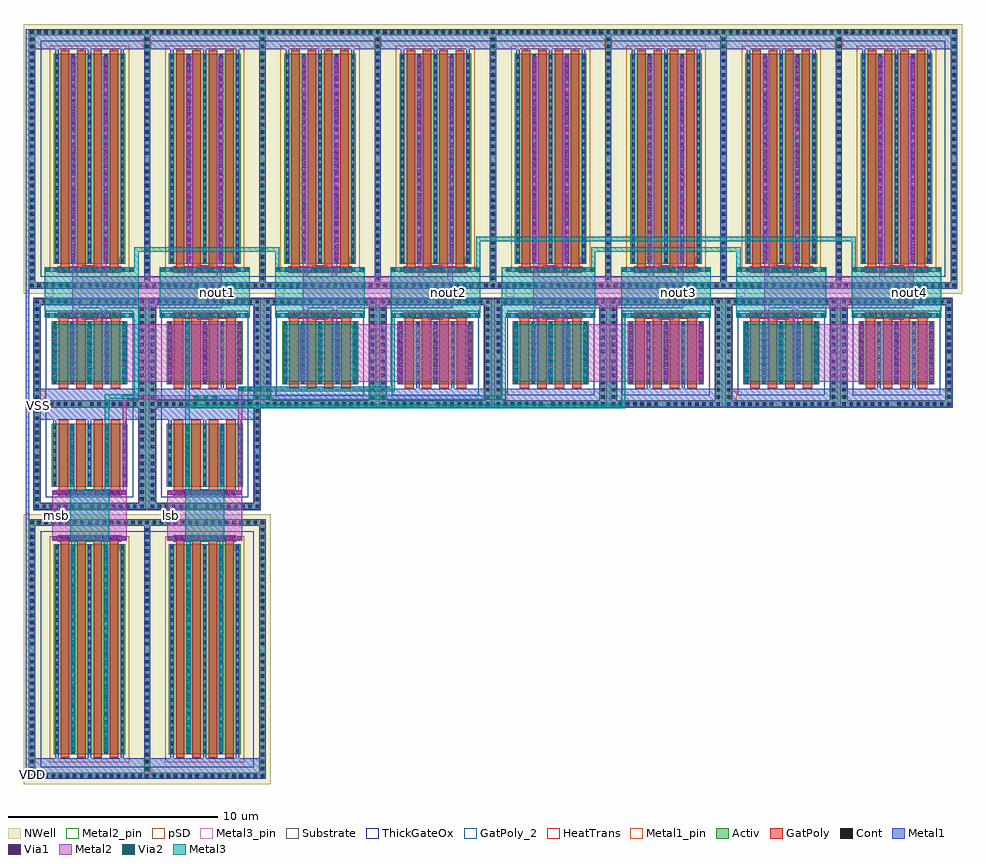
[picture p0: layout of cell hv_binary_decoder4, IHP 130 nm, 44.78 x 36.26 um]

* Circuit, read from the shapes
.subckt hv_binary_decoder4 VDD VSS lsb msb nout1 nout2 nout3 nout4
XM1 hv_nand_2/in1 msb VSS VSS sg13_hv_nmos w=3u l=0.45u m=4
XM2 nout1 hv_nand_2/in1 n1 VSS sg13_hv_nmos w=3u l=0.45u m=4
XM3 hv_nand_3/in2 lsb VSS VSS sg13_hv_nmos w=3u l=0.45u m=4
XM4 VSS hv_nand_3/in2 n1 VSS sg13_hv_nmos w=3u l=0.45u m=4
XM5 nout2 hv_nand_2/in1 n2 VSS sg13_hv_nmos w=3u l=0.45u m=4
XM6 VSS lsb n2 VSS sg13_hv_nmos w=3u l=0.45u m=4
XM7 nout3 msb n3 VSS sg13_hv_nmos w=3u l=0.45u m=4
XM8 VSS hv_nand_3/in2 n3 VSS sg13_hv_nmos w=3u l=0.45u m=4
XM9 nout4 msb n4 VSS sg13_hv_nmos w=3u l=0.45u m=4
XM10 VSS lsb n4 VSS sg13_hv_nmos w=3u l=0.45u m=4
XM11 hv_nand_2/in1 msb VDD VDD sg13_hv_pmos w=10u l=0.4u m=4
XM12 nout1 hv_nand_2/in1 VDD VDD sg13_hv_pmos w=10u l=0.4u m=4
XM13 hv_nand_3/in2 lsb VDD VDD sg13_hv_pmos w=10u l=0.4u m=4
XM14 nout1 hv_nand_3/in2 VDD VDD sg13_hv_pmos w=10u l=0.4u m=4
XM15 nout2 hv_nand_2/in1 VDD VDD sg13_hv_pmos w=10u l=0.4u m=4
XM16 nout2 lsb VDD VDD sg13_hv_pmos w=10u l=0.4u m=4
XM17 nout3 msb VDD VDD sg13_hv_pmos w=10u l=0.4u m=4
XM18 nout3 hv_nand_3/in2 VDD VDD sg13_hv_pmos w=10u l=0.4u m=4
XM19 nout4 msb VDD VDD sg13_hv_pmos w=10u l=0.4u m=4
XM20 nout4 lsb VDD VDD sg13_hv_pmos w=10u l=0.4u m=4
.ends

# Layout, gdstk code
from math import pi, radians
import gdstk
lib = gdstk.Library(unit=1e-6, precision=1e-09)
def R(c, l, rs):  # rectangles x0, y0, x1, y1
    for r in rs: c.add(gdstk.rectangle(r[:2], r[2:], *l))
def A(c, l, x, y, w, h, nx, ny, dx, dy):  # array of equal rectangles
    R(c, l, [(x+i*dx, y+j*dy, x+i*dx+w, y+j*dy+h) for i in range(nx) for j in range(ny)])
def P(c, l, *ps):  # polygons
    for p in ps: c.add(gdstk.Polygon(p, *l))
Activ = (1, 0)
GatPoly = (5, 0)
GatPoly_2 = (5, 2)
Cont = (6, 0)
Metal1 = (8, 0)
Metal1_pin = (8, 2)
Metal2 = (10, 0)
Metal2_pin = (10, 2)
pSD = (14, 0)
Via1 = (19, 0)
Via2 = (29, 0)
Metal3 = (30, 0)
Metal3_pin = (30, 2)
NWell = (31, 0)
Substrate = (40, 0)
ThickGateOx = (44, 0)
HeatTrans = (51, 0)

via_stack_2 = lib.new_cell('via_stack$2')
R(via_stack_2, Metal1, [(-0.105,-1.375,0.105,1.375)])
R(via_stack_2, Metal2, [(-0.1,-1.375,0.1,1.375)])
A(via_stack_2, Via1, -0.095, -1.325, 0.19, 0.19, 1, 7, 0, 0.41)
A(via_stack_2, Via2, -0.095, -1.325, 0.19, 0.19, 1, 7, 0, 0.41)
R(via_stack_2, Metal3, [(-0.1,-1.375,0.1,1.375)])

nmoshv = lib.new_cell('nmosHV')
A(nmoshv, Activ, 0, 0, 0.3, 0.3, 5, 1, 0.83, 0)
R(nmoshv, Activ, [(-0.84,-0.79,-0.54,3.79), (4.16,-0.79,4.46,3.79), (0,0,3.62,3), (-0.84,3.79,4.46,4.09)])
P(nmoshv, Activ, [(-0.84,-1.09),(-0.84,3.79),(-0.54,3.79),(-0.54,-0.79),(4.16,-0.79),(4.16,3.79),(-0.84,3.79),(-0.84,4.09),(4.46,4.09),(4.46,-1.09)])
A(nmoshv, GatPoly, 0.34, -0.18, 0.45, 3.36, 4, 1, 0.83, 0)
R(nmoshv, GatPoly_2, [(0.34,-0.18,0.79,3.18)])
A(nmoshv, Cont, -0.77, -1.02, 0.16, 0.16, 7, 2, 0.34, 4.88)
A(nmoshv, Cont, 1.85, -1.02, 0.16, 0.16, 8, 2, 0.34, 4.88)
A(nmoshv, Cont, -0.77, -0.68, 0.16, 0.16, 1, 6, 0, 0.34)
A(nmoshv, Cont, 4.23, -0.68, 0.16, 0.16, 1, 6, 0, 0.34)
A(nmoshv, Cont, 0.07, 0.07, 0.16, 0.16, 5, 7, 0.83, 0.385)
A(nmoshv, Cont, -0.77, 1.48, 0.16, 0.16, 1, 7, 0, 0.34)
A(nmoshv, Cont, 4.23, 1.48, 0.16, 0.16, 1, 7, 0, 0.34)
A(nmoshv, Cont, 0.07, 2.77, 0.16, 0.16, 5, 1, 0.83, 0)
A(nmoshv, Metal1, 0.07, 0, 0.16, 3, 5, 1, 0.83, 0)
R(nmoshv, Metal1, [(-0.84,-1.09,4.46,-0.79), (-0.84,-0.79,-0.54,3.79), (4.16,-0.79,4.46,3.79), (-0.84,3.79,4.46,4.09)])
R(nmoshv, Metal1_pin, [(0.07,0,0.23,3), (0.9,0,1.06,3)])
R(nmoshv, pSD, [(-0.87,-0.76,-0.51,3.76), (4.13,-0.76,4.49,3.76), (-0.87,3.76,4.49,4.12)])
P(nmoshv, pSD, [(-0.87,-1.12),(-0.87,3.76),(-0.51,3.76),(-0.51,-0.76),(4.13,-0.76),(4.13,3.76),(-0.87,3.76),(-0.87,4.12),(4.49,4.12),(4.49,-1.12)])
R(nmoshv, Substrate, [(-0.87,-0.76,-0.51,3.76), (4.13,-0.76,4.49,3.76), (-0.87,3.76,4.49,4.12)])
P(nmoshv, Substrate, [(-0.87,-1.12),(-0.87,3.76),(-0.51,3.76),(-0.51,-0.76),(4.13,-0.76),(4.13,3.76),(-0.87,3.76),(-0.87,4.12),(4.49,4.12),(4.49,-1.12)])
R(nmoshv, ThickGateOx, [(-0.27,-0.52,3.89,3.52)])
A(nmoshv, HeatTrans, 0.34, -0.18, 0.45, 3.36, 4, 1, 0.83, 0)
nmoshv.add(gdstk.Label('nmosHV', (0.565,1.5), layer=63, texttype=0))
nmoshv.add(gdstk.Label('sub!', (1.81,-0.94), layer=63, texttype=0))
nmoshv.add(gdstk.Label('nmosHV', (0.565,1.5), layer=51, texttype=0))
nmoshv.add(gdstk.Label('nmosHV', (1.395,1.5), layer=51, texttype=0))
nmoshv.add(gdstk.Label('nmosHV', (2.225,1.5), layer=51, texttype=0))
nmoshv.add(gdstk.Label('nmosHV', (3.055,1.5), layer=51, texttype=0))

via_stack_6 = lib.new_cell('via_stack$6')
R(via_stack_6, Metal1, [(-0.105,-4.86,0.105,4.86)])
R(via_stack_6, Metal2, [(-0.1,-4.86,0.1,4.86)])
A(via_stack_6, Via1, -0.095, -4.81, 0.19, 0.19, 1, 24, 0, 0.41)
A(via_stack_6, Via2, -0.095, -4.81, 0.19, 0.19, 1, 24, 0, 0.41)
R(via_stack_6, Metal3, [(-0.1,-4.86,0.1,4.86)])

via_stack = lib.new_cell('via_stack')
R(via_stack, GatPoly, [(-0.15,-1.51,0.15,1.51)])
A(via_stack, Cont, -0.08, -1.44, 0.16, 0.16, 1, 9, 0, 0.34)
R(via_stack, Metal1, [(-0.105,-1.785,0.105,1.785)])
R(via_stack, Metal2, [(-0.1,-1.785,0.1,1.785)])
A(via_stack, Via1, -0.095, -1.735, 0.19, 0.19, 1, 9, 0, 0.41)

pmoshv = lib.new_cell('pmosHV')
A(pmoshv, Activ, 0, 0, 0.3, 0.3, 5, 1, 0.78, 0)
R(pmoshv, Activ, [(-1.19,-0.89,-0.89,10.89), (4.31,-0.89,4.61,10.89), (0,0,3.42,10), (-1.19,10.89,4.61,11.19)])
P(pmoshv, Activ, [(-1.19,-1.19),(-1.19,10.89),(-0.89,10.89),(-0.89,-0.89),(4.31,-0.89),(4.31,10.89),(-1.19,10.89),(-1.19,11.19),(4.61,11.19),(4.61,-1.19)])
A(pmoshv, GatPoly, 0.34, -0.18, 0.4, 10.36, 4, 1, 0.78, 0)
R(pmoshv, GatPoly_2, [(0.34,-0.18,0.74,10.18)])
A(pmoshv, Cont, -1.12, -1.12, 0.16, 0.16, 8, 2, 0.34, 12.08)
A(pmoshv, Cont, 1.66, -1.12, 0.16, 0.16, 9, 2, 0.34, 12.08)
A(pmoshv, Cont, -1.12, -0.78, 0.16, 0.16, 1, 17, 0, 0.34)
A(pmoshv, Cont, 4.38, -0.78, 0.16, 0.16, 1, 17, 0, 0.34)
A(pmoshv, Cont, 0.07, 0.07, 0.16, 0.16, 5, 4, 0.78, 0.345)
A(pmoshv, Cont, 0.07, 1.455, 0.16, 0.16, 5, 3, 0.78, 0.345)
A(pmoshv, Cont, 0.07, 2.495, 0.16, 0.16, 5, 4, 0.78, 0.345)
A(pmoshv, Cont, 0.07, 3.88, 0.16, 0.16, 5, 3, 0.78, 0.345)
A(pmoshv, Cont, 0.07, 4.92, 0.16, 0.16, 5, 4, 0.78, 0.345)
A(pmoshv, Cont, -1.12, 5.18, 0.16, 0.16, 1, 17, 0, 0.34)
A(pmoshv, Cont, 4.38, 5.18, 0.16, 0.16, 1, 17, 0, 0.34)
A(pmoshv, Cont, 0.07, 6.305, 0.16, 0.16, 5, 3, 0.78, 0.345)
A(pmoshv, Cont, 0.07, 7.345, 0.16, 0.16, 5, 4, 0.78, 0.345)
A(pmoshv, Cont, 0.07, 8.73, 0.16, 0.16, 5, 3, 0.78, 0.345)
A(pmoshv, Cont, 0.07, 9.77, 0.16, 0.16, 5, 1, 0.78, 0)
A(pmoshv, Metal1, 0.07, 0, 0.16, 10, 5, 1, 0.78, 0)
R(pmoshv, Metal1, [(-1.19,-1.19,4.61,-0.89), (-1.19,-0.89,-0.89,10.89), (4.31,-0.89,4.61,10.89), (-1.19,10.89,4.61,11.19)])
R(pmoshv, Metal1_pin, [(0.07,0,0.23,10), (0.85,0,1.01,10)])
R(pmoshv, pSD, [(-0.18,-0.4,3.6,10.4)])
R(pmoshv, NWell, [(-1.43,-1.43,4.85,11.43), (-0.62,-0.62,4.04,10.62)])
R(pmoshv, Substrate, [(3.12,0,3.42,0.3)])
R(pmoshv, ThickGateOx, [(-0.62,-0.62,4.04,10.62)])
A(pmoshv, HeatTrans, 0.34, -0.18, 0.4, 10.36, 4, 1, 0.78, 0)
pmoshv.add(gdstk.Label('pmosHV', (0.54,5), layer=63, texttype=0))
pmoshv.add(gdstk.Label('well', (1.71,-1.04), layer=63, texttype=0))
pmoshv.add(gdstk.Label('pmos', (0.54,5), layer=51, texttype=0))
pmoshv.add(gdstk.Label('pmos', (1.32,5), layer=51, texttype=0))
pmoshv.add(gdstk.Label('pmos', (2.1,5), layer=51, texttype=0))
pmoshv.add(gdstk.Label('pmos', (2.88,5), layer=51, texttype=0))

hv_inverter_40u = lib.new_cell('hv_inverter_40u')
A(hv_inverter_40u, Metal1, -1.74, -4.58, 0.16, 0.2, 3, 1, 1.66, 0)
A(hv_inverter_40u, Metal1, -1.64, 11.38, 0.16, 0.2, 3, 1, 1.56, 0)
R(hv_inverter_40u, Metal1, [(-2.35,-5.17,2.35,-4.58), (-2.6,11.58,2.6,12.27)])
R(hv_inverter_40u, Metal1_pin, [(-2.65,-5.47,-2.25,-5.07), (-2.9,12.17,-2.5,12.57)])
R(hv_inverter_40u, Metal2, [(-1.785,-1.195,1.785,1.195)])
R(hv_inverter_40u, Metal2_pin, [(-1.785,-0.2,-1.385,0.2)])
R(hv_inverter_40u, Metal3, [(-0.93,-1.195,0.93,1.195)])
R(hv_inverter_40u, Metal3_pin, [(0.53,-0.2,0.93,0.2)])
hv_inverter_40u.add(gdstk.FlexPath([(-0.83,-1.505),(-0.83,0),(-0.78,0),(-0.78,1.52)], 0.2, ends="flush", simple_path=True, layer=30, datatype=0))  # Metal3
hv_inverter_40u.add(gdstk.FlexPath([(0.83,-1.505),(0.83,0),(0.78,0),(0.78,1.52)], 0.2, ends="flush", simple_path=True, layer=30, datatype=0))  # Metal3
hv_inverter_40u.add(gdstk.Reference(via_stack_2, (-0.83,-2.88)))
hv_inverter_40u.add(gdstk.Reference(nmoshv, (-1.81,-4.38)))
hv_inverter_40u.add(gdstk.Reference(via_stack_2, (0.83,-2.88)))
hv_inverter_40u.add(gdstk.Reference(via_stack_6, (0.78,6.38), rotation=pi))
hv_inverter_40u.add(gdstk.Reference(via_stack_6, (-0.78,6.38), rotation=pi))
hv_inverter_40u.add(gdstk.Reference(via_stack, (0,-1.095), rotation=pi/2))
hv_inverter_40u.add(gdstk.Reference(via_stack, (0,1.095), rotation=pi/2))
hv_inverter_40u.add(gdstk.Reference(pmoshv, (-1.71,1.38)))
hv_inverter_40u.add(gdstk.Label('in', (-1.585,0), layer=10, texttype=25))
hv_inverter_40u.add(gdstk.Label('out', (0.73,0), layer=30, texttype=25))
hv_inverter_40u.add(gdstk.Label('VSS', (-2.45,-5.27), layer=8, texttype=25))
hv_inverter_40u.add(gdstk.Label('VDD', (-2.7,12.37), layer=8, texttype=25))

via_stack_3 = lib.new_cell('via_stack$3')
R(via_stack_3, Metal1, [(-0.105,-1.375,0.105,1.375)])
R(via_stack_3, Metal2, [(-0.1,-1.375,0.1,1.375)])
A(via_stack_3, Via1, -0.095, -1.325, 0.19, 0.19, 1, 7, 0, 0.41)

via_stack_10 = lib.new_cell('via_stack$10')
R(via_stack_10, Metal1, [(-0.105,-1.375,0.105,1.375)])
R(via_stack_10, Metal2, [(-0.1,-1.375,0.1,1.375)])
A(via_stack_10, Via1, -0.095, -1.325, 0.19, 0.19, 1, 7, 0, 0.41)
A(via_stack_10, Via2, -0.095, -1.325, 0.19, 0.19, 1, 7, 0, 0.41)
R(via_stack_10, Metal3, [(-0.1,-1.375,0.1,1.375)])

nmoshv_1 = lib.new_cell('nmosHV$1')
A(nmoshv_1, Activ, 0, 0, 0.3, 0.3, 5, 1, 0.83, 0)
R(nmoshv_1, Activ, [(-0.84,-0.79,-0.54,3.79), (4.16,-0.79,4.46,3.79), (0,0,3.62,3), (-0.84,3.79,4.46,4.09)])
P(nmoshv_1, Activ, [(-0.84,-1.09),(-0.84,3.79),(-0.54,3.79),(-0.54,-0.79),(4.16,-0.79),(4.16,3.79),(-0.84,3.79),(-0.84,4.09),(4.46,4.09),(4.46,-1.09)])
A(nmoshv_1, GatPoly, 0.34, -0.18, 0.45, 3.36, 4, 1, 0.83, 0)
R(nmoshv_1, GatPoly_2, [(0.34,-0.18,0.79,3.18)])
A(nmoshv_1, Cont, -0.77, -1.02, 0.16, 0.16, 7, 2, 0.34, 4.88)
A(nmoshv_1, Cont, 1.85, -1.02, 0.16, 0.16, 8, 2, 0.34, 4.88)
A(nmoshv_1, Cont, -0.77, -0.68, 0.16, 0.16, 1, 6, 0, 0.34)
A(nmoshv_1, Cont, 4.23, -0.68, 0.16, 0.16, 1, 6, 0, 0.34)
A(nmoshv_1, Cont, 0.07, 0.07, 0.16, 0.16, 5, 7, 0.83, 0.385)
A(nmoshv_1, Cont, -0.77, 1.48, 0.16, 0.16, 1, 7, 0, 0.34)
A(nmoshv_1, Cont, 4.23, 1.48, 0.16, 0.16, 1, 7, 0, 0.34)
A(nmoshv_1, Cont, 0.07, 2.77, 0.16, 0.16, 5, 1, 0.83, 0)
A(nmoshv_1, Metal1, 0.07, 0, 0.16, 3, 5, 1, 0.83, 0)
R(nmoshv_1, Metal1, [(-0.84,-1.09,4.46,-0.79), (-0.84,-0.79,-0.54,3.79), (4.16,-0.79,4.46,3.79), (-0.84,3.79,4.46,4.09)])
R(nmoshv_1, Metal1_pin, [(0.07,0,0.23,3), (0.9,0,1.06,3)])
R(nmoshv_1, pSD, [(-0.87,-0.76,-0.51,3.76), (4.13,-0.76,4.49,3.76), (-0.87,3.76,4.49,4.12)])
P(nmoshv_1, pSD, [(-0.87,-1.12),(-0.87,3.76),(-0.51,3.76),(-0.51,-0.76),(4.13,-0.76),(4.13,3.76),(-0.87,3.76),(-0.87,4.12),(4.49,4.12),(4.49,-1.12)])
R(nmoshv_1, Substrate, [(-0.87,-0.76,-0.51,3.76), (4.13,-0.76,4.49,3.76), (-0.87,3.76,4.49,4.12)])
P(nmoshv_1, Substrate, [(-0.87,-1.12),(-0.87,3.76),(-0.51,3.76),(-0.51,-0.76),(4.13,-0.76),(4.13,3.76),(-0.87,3.76),(-0.87,4.12),(4.49,4.12),(4.49,-1.12)])
R(nmoshv_1, ThickGateOx, [(-0.27,-0.52,3.89,3.52)])
A(nmoshv_1, HeatTrans, 0.34, -0.18, 0.45, 3.36, 4, 1, 0.83, 0)
nmoshv_1.add(gdstk.Label('nmosHV', (0.565,1.5), layer=63, texttype=0))
nmoshv_1.add(gdstk.Label('sub!', (1.81,-0.94), layer=63, texttype=0))
nmoshv_1.add(gdstk.Label('nmosHV', (0.565,1.5), layer=51, texttype=0))
nmoshv_1.add(gdstk.Label('nmosHV', (1.395,1.5), layer=51, texttype=0))
nmoshv_1.add(gdstk.Label('nmosHV', (2.225,1.5), layer=51, texttype=0))
nmoshv_1.add(gdstk.Label('nmosHV', (3.055,1.5), layer=51, texttype=0))

via_stack_3_1 = lib.new_cell('via_stack$3$1')
R(via_stack_3_1, Metal1, [(-0.105,-4.86,0.105,4.86)])
R(via_stack_3_1, Metal2, [(-0.1,-4.86,0.1,4.86)])
A(via_stack_3_1, Via1, -0.095, -4.81, 0.19, 0.19, 1, 24, 0, 0.41)

via_stack_7 = lib.new_cell('via_stack$7')
R(via_stack_7, GatPoly, [(-0.15,-1.51,0.15,1.51)])
A(via_stack_7, Cont, -0.08, -1.44, 0.16, 0.16, 1, 9, 0, 0.34)
R(via_stack_7, Metal1, [(-0.08,-1.49,0.08,1.49)])

pmoshv_1 = lib.new_cell('pmosHV$1')
A(pmoshv_1, Activ, 0, 0, 0.3, 0.3, 5, 1, 0.78, 0)
R(pmoshv_1, Activ, [(-1.19,-0.89,-0.89,10.89), (4.31,-0.89,4.61,10.89), (0,0,3.42,10), (-1.19,10.89,4.61,11.19)])
P(pmoshv_1, Activ, [(-1.19,-1.19),(-1.19,10.89),(-0.89,10.89),(-0.89,-0.89),(4.31,-0.89),(4.31,10.89),(-1.19,10.89),(-1.19,11.19),(4.61,11.19),(4.61,-1.19)])
A(pmoshv_1, GatPoly, 0.34, -0.18, 0.4, 10.36, 4, 1, 0.78, 0)
R(pmoshv_1, GatPoly_2, [(0.34,-0.18,0.74,10.18)])
A(pmoshv_1, Cont, -1.12, -1.12, 0.16, 0.16, 8, 2, 0.34, 12.08)
A(pmoshv_1, Cont, 1.66, -1.12, 0.16, 0.16, 9, 2, 0.34, 12.08)
A(pmoshv_1, Cont, -1.12, -0.78, 0.16, 0.16, 1, 17, 0, 0.34)
A(pmoshv_1, Cont, 4.38, -0.78, 0.16, 0.16, 1, 17, 0, 0.34)
A(pmoshv_1, Cont, 0.07, 0.07, 0.16, 0.16, 5, 4, 0.78, 0.345)
A(pmoshv_1, Cont, 0.07, 1.455, 0.16, 0.16, 5, 3, 0.78, 0.345)
A(pmoshv_1, Cont, 0.07, 2.495, 0.16, 0.16, 5, 4, 0.78, 0.345)
A(pmoshv_1, Cont, 0.07, 3.88, 0.16, 0.16, 5, 3, 0.78, 0.345)
A(pmoshv_1, Cont, 0.07, 4.92, 0.16, 0.16, 5, 4, 0.78, 0.345)
A(pmoshv_1, Cont, -1.12, 5.18, 0.16, 0.16, 1, 17, 0, 0.34)
A(pmoshv_1, Cont, 4.38, 5.18, 0.16, 0.16, 1, 17, 0, 0.34)
A(pmoshv_1, Cont, 0.07, 6.305, 0.16, 0.16, 5, 3, 0.78, 0.345)
A(pmoshv_1, Cont, 0.07, 7.345, 0.16, 0.16, 5, 4, 0.78, 0.345)
A(pmoshv_1, Cont, 0.07, 8.73, 0.16, 0.16, 5, 3, 0.78, 0.345)
A(pmoshv_1, Cont, 0.07, 9.77, 0.16, 0.16, 5, 1, 0.78, 0)
A(pmoshv_1, Metal1, 0.07, 0, 0.16, 10, 5, 1, 0.78, 0)
R(pmoshv_1, Metal1, [(-1.19,-1.19,4.61,-0.89), (-1.19,-0.89,-0.89,10.89), (4.31,-0.89,4.61,10.89), (-1.19,10.89,4.61,11.19)])
R(pmoshv_1, Metal1_pin, [(0.07,0,0.23,10), (0.85,0,1.01,10)])
R(pmoshv_1, pSD, [(-0.18,-0.4,3.6,10.4)])
R(pmoshv_1, NWell, [(-1.43,-1.43,4.85,11.43), (-0.62,-0.62,4.04,10.62)])
R(pmoshv_1, Substrate, [(3.12,0,3.42,0.3)])
R(pmoshv_1, ThickGateOx, [(-0.62,-0.62,4.04,10.62)])
A(pmoshv_1, HeatTrans, 0.34, -0.18, 0.4, 10.36, 4, 1, 0.78, 0)
pmoshv_1.add(gdstk.Label('pmosHV', (0.54,5), layer=63, texttype=0))
pmoshv_1.add(gdstk.Label('well', (1.71,-1.04), layer=63, texttype=0))
pmoshv_1.add(gdstk.Label('pmos', (0.54,5), layer=51, texttype=0))
pmoshv_1.add(gdstk.Label('pmos', (1.32,5), layer=51, texttype=0))
pmoshv_1.add(gdstk.Label('pmos', (2.1,5), layer=51, texttype=0))
pmoshv_1.add(gdstk.Label('pmos', (2.88,5), layer=51, texttype=0))

via_stack_8 = lib.new_cell('via_stack$8')
R(via_stack_8, Metal1, [(-0.105,-0.35,0.105,0.35)])
R(via_stack_8, Metal2, [(-0.1,-0.35,0.1,0.35)])
R(via_stack_8, Via1, [(-0.095,-0.3,0.095,-0.11), (-0.095,0.11,0.095,0.3)])
R(via_stack_8, Via2, [(-0.095,-0.3,0.095,-0.11), (-0.095,0.11,0.095,0.3)])
R(via_stack_8, Metal3, [(-0.1,-0.35,0.1,0.35)])

via_stack_9 = lib.new_cell('via_stack$9')
R(via_stack_9, Metal1, [(-0.105,-0.555,0.105,0.555)])
R(via_stack_9, Metal2, [(-0.1,-0.555,0.1,0.555)])
A(via_stack_9, Via1, -0.095, -0.505, 0.19, 0.19, 1, 3, 0, 0.41)
A(via_stack_9, Via2, -0.095, -0.505, 0.19, 0.19, 1, 3, 0, 0.41)
R(via_stack_9, Metal3, [(-0.1,-0.555,0.1,0.555)])

hv_nand = lib.new_cell('hv_nand')
R(hv_nand, Activ, [(2.65,-5.47,2.85,-0.29)])
A(hv_nand, Metal1, -1.64, 11.38, 0.16, 0.22, 3, 1, 1.56, 0)
A(hv_nand, Metal1, 3.86, 11.38, 0.16, 0.22, 3, 1, 1.56, 0)
R(hv_nand, Metal1, [(2.65,-5.47,2.85,-0.29), (-2.35,-5.17,7.85,-4.6), (4.59,-4.6,4.75,-4.38), (6.25,-4.6,6.41,-4.38), (-2.14,-1.2,2.14,-0.99), (3.36,-1.2,7.64,-0.99), (-2.14,0.99,2.14,1.2), (3.36,0.99,7.64,1.2), (-2.6,11.6,8.1,12.27)])
R(hv_nand, Metal1_pin, [(-2.52,-5.09,-2.12,-4.69), (2.55,11.69,2.95,12.09)])
R(hv_nand, Metal2, [(-0.82,-4.255,-0.56,11.24), (0.56,-4.255,0.82,11.24), (1.56,-4.255,7.26,-1.505), (-0.35,-1.29,0.35,-0.995), (5.15,-1.29,5.85,-0.995), (-0.82,-0.755,6.32,0.755), (4.68,-0.755,4.94,11.24), (6.06,-0.755,6.32,11.24), (-0.35,0.995,0.35,1.29), (5.15,0.995,5.85,1.29)])
R(hv_nand, Metal2_pin, [(5.92,-0.2,6.32,0.2)])
R(hv_nand, pSD, [(2.68,-5.5,2.82,-0.26)])
R(hv_nand, Metal3, [(-1.76,-4.255,1.76,-1.505), (-2.14,-1.195,2.14,1.195), (3.36,-1.195,7.64,1.195)])
R(hv_nand, Metal3_pin, [(-2.14,-0.2,-1.74,0.2), (3.36,-0.2,3.76,0.2)])
R(hv_nand, ThickGateOx, [(2.33,0.76,3.17,12)])
hv_nand.add(gdstk.Reference(via_stack_3, (-0.83,-2.88)))
hv_nand.add(gdstk.Reference(via_stack_10, (-1.66,-2.88), rotation=pi))
hv_nand.add(gdstk.Reference(via_stack_10, (0,-2.88)))
hv_nand.add(gdstk.Reference(nmoshv_1, (-1.81,-4.38)))
hv_nand.add(gdstk.Reference(via_stack_3, (0.83,-2.88)))
hv_nand.add(gdstk.Reference(via_stack_10, (1.66,-2.88)))
hv_nand.add(gdstk.Reference(via_stack_3_1, (0.78,6.38), rotation=pi))
hv_nand.add(gdstk.Reference(via_stack_3_1, (-0.78,6.38), rotation=pi))
hv_nand.add(gdstk.Reference(via_stack_7, (0,-1.095), rotation=pi/2))
hv_nand.add(gdstk.Reference(via_stack_7, (0,1.095), rotation=pi/2))
hv_nand.add(gdstk.Reference(pmoshv_1, (-1.71,1.38)))
hv_nand.add(gdstk.Reference(via_stack_3, (3.84,-2.88), rotation=pi))
hv_nand.add(gdstk.Reference(via_stack_8, (0,-1.095), rotation=pi/2))
hv_nand.add(gdstk.Reference(via_stack_9, (-1.585,-1.095), rotation=pi/2))
hv_nand.add(gdstk.Reference(via_stack_9, (1.585,-1.095), rotation=pi/2))
hv_nand.add(gdstk.Reference(via_stack_8, (0,1.095), rotation=3*pi/2, x_reflection=True))
hv_nand.add(gdstk.Reference(via_stack_9, (-1.585,1.095), rotation=3*pi/2, x_reflection=True))
hv_nand.add(gdstk.Reference(via_stack_9, (1.585,1.095), rotation=3*pi/2, x_reflection=True))
hv_nand.add(gdstk.Reference(via_stack_3, (5.5,-2.88)))
hv_nand.add(gdstk.Reference(nmoshv_1, (3.69,-4.38)))
hv_nand.add(gdstk.Reference(via_stack_3, (7.16,-2.88)))
hv_nand.add(gdstk.Reference(via_stack_3_1, (6.28,6.38), rotation=pi))
hv_nand.add(gdstk.Reference(via_stack_3_1, (4.72,6.38), rotation=pi))
hv_nand.add(gdstk.Reference(via_stack_7, (5.5,-1.095), rotation=pi/2))
hv_nand.add(gdstk.Reference(pmoshv_1, (3.79,1.38)))
hv_nand.add(gdstk.Reference(via_stack_8, (5.5,-1.095), rotation=pi/2))
hv_nand.add(gdstk.Reference(via_stack_9, (3.915,-1.095), rotation=pi/2))
hv_nand.add(gdstk.Reference(via_stack_9, (7.085,-1.095), rotation=pi/2))
hv_nand.add(gdstk.Reference(via_stack_8, (5.5,1.095), rotation=3*pi/2, x_reflection=True))
hv_nand.add(gdstk.Reference(via_stack_9, (3.915,1.095), rotation=3*pi/2, x_reflection=True))
hv_nand.add(gdstk.Reference(via_stack_9, (7.085,1.095), rotation=3*pi/2, x_reflection=True))
hv_nand.add(gdstk.Reference(via_stack_7, (5.5,1.095), rotation=pi/2))
hv_nand.add(gdstk.Label('out', (6.12,0), layer=10, texttype=25))
hv_nand.add(gdstk.Label('in1', (-1.94,0), layer=30, texttype=25))
hv_nand.add(gdstk.Label('in2', (3.56,0), layer=30, texttype=25))
hv_nand.add(gdstk.Label('VDD', (2.75,11.89), layer=8, texttype=25))
hv_nand.add(gdstk.Label('VSS', (-2.32,-4.89), layer=8, texttype=25))

via = lib.new_cell('Via')
R(via, Metal2, [(-0.555,-0.1,0.555,0.1)])
A(via, Via2, -0.505, -0.095, 0.19, 0.19, 3, 1, 0.41, 0)
R(via, Metal3, [(-0.555,-0.1,0.555,0.1)])

via_1 = lib.new_cell('Via$1')
R(via_1, Metal2, [(-0.555,-0.1,0.555,0.1)])
A(via_1, Via2, -0.505, -0.095, 0.19, 0.19, 3, 1, 0.41, 0)
R(via_1, Metal3, [(-0.555,-0.1,0.555,0.1)])

hv_binary_decoder4 = lib.new_cell('hv_binary_decoder4')
A(hv_binary_decoder4, Activ, 11.29, 17.98, 0.2, 5.18, 3, 1, 11, 0)
R(hv_binary_decoder4, Activ, [(5.79,13.1,5.99,17.98)])
A(hv_binary_decoder4, Metal1, 11.29, 17.98, 0.2, 5.18, 3, 1, 11, 0)
R(hv_binary_decoder4, Metal1, [(0.09,0.24,0.27,36.02), (5.79,13.1,5.99,17.98)])
R(hv_binary_decoder4, Metal1_pin, [(0.24,0.24,0.64,0.64), (0.49,17.88,0.89,18.28)])
A(hv_binary_decoder4, Metal2_pin, 9.06, 23.25, 0.4, 0.4, 4, 1, 11, 0)
R(hv_binary_decoder4, Metal2_pin, [(1.355,12.61,1.755,13.01), (6.855,12.61,7.255,13.01)])
A(hv_binary_decoder4, pSD, 11.32, 17.95, 0.14, 5.24, 3, 1, 11, 0)
R(hv_binary_decoder4, pSD, [(5.82,13.07,5.96,17.95)])
A(hv_binary_decoder4, ThickGateOx, 10.97, 24.21, 0.84, 11.24, 3, 1, 11, 0)
R(hv_binary_decoder4, ThickGateOx, [(5.47,0.81,6.31,12.05), (1.06,17.71,5.22,18.55), (6.56,17.71,10.72,18.55)])
hv_binary_decoder4.add(gdstk.FlexPath([(4.825,14.005),(4.825,18.44),(8.12,18.44)], 0.2, ends="flush", simple_path=True, layer=10, datatype=0))  # Metal2
hv_binary_decoder4.add(gdstk.FlexPath([(10.325,14.005),(10.325,18.88)], 0.2, ends="flush", simple_path=True, layer=10, datatype=0))  # Metal2
hv_binary_decoder4.add(gdstk.FlexPath([(27.18,24.645),(27.18,25.5),(34.1,25.5),(34.1,24.645)], 0.2, ends="flush", simple_path=True, layer=30, datatype=0))  # Metal3
hv_binary_decoder4.add(gdstk.FlexPath([(21.68,24.645),(21.68,26),(39.6,26),(39.6,24.645)], 0.2, ends="flush", simple_path=True, layer=30, datatype=0))  # Metal3
hv_binary_decoder4.add(gdstk.FlexPath([(9.23,18.44),(22.9,18.44),(22.9,24.645)], 0.2, ends="flush", simple_path=True, layer=30, datatype=0))  # Metal3
hv_binary_decoder4.add(gdstk.FlexPath([(11.335,18.85),(17.6,18.85),(17.6,22.255)], 0.2, ends="flush", simple_path=True, layer=30, datatype=0))  # Metal3
hv_binary_decoder4.add(gdstk.FlexPath([(7.91,18.03),(28.6,18.03),(28.6,22.255)], 0.2, ends="flush", simple_path=True, layer=30, datatype=0))  # Metal3
hv_binary_decoder4.add(gdstk.FlexPath([(7.91,18.03),(28.6,18.03),(28.6,22.255)], 0.2, ends="flush", simple_path=True, layer=30, datatype=0))  # Metal3
hv_binary_decoder4.add(gdstk.FlexPath([(7.81,17.065),(7.81,22.255)], 0.2, ends="flush", simple_path=True, layer=30, datatype=0))  # Metal3
hv_binary_decoder4.add(gdstk.FlexPath([(3.97,17.065),(3.97,18.49),(5.38,18.49),(5.38,25.5),(12.1,25.5),(12.1,24.645)], 0.2, ends="flush", simple_path=True, layer=30, datatype=0))  # Metal3
hv_binary_decoder4.add(gdstk.Reference(hv_inverter_40u, (3.14,12.81), x_reflection=True))
hv_binary_decoder4.add(gdstk.Reference(hv_inverter_40u, (8.64,12.81), x_reflection=True))
hv_binary_decoder4.add(gdstk.Reference(hv_nand, (14.14,23.45)))
hv_binary_decoder4.add(gdstk.Reference(hv_nand, (25.14,23.45)))
hv_binary_decoder4.add(gdstk.Reference(hv_nand, (36.14,23.45)))
hv_binary_decoder4.add(gdstk.Reference(via, (8.675,18.44)))
hv_binary_decoder4.add(gdstk.Reference(via_1, (10.78,18.85)))
hv_binary_decoder4.add(gdstk.Reference(hv_nand, (3.14,23.45)))
hv_binary_decoder4.add(gdstk.Label('msb', (1.555,12.81), layer=10, texttype=25))
hv_binary_decoder4.add(gdstk.Label('lsb', (7.055,12.81), layer=10, texttype=25))
hv_binary_decoder4.add(gdstk.Label('nout1', (9.26,23.45), layer=10, texttype=25))
hv_binary_decoder4.add(gdstk.Label('nout2', (20.26,23.45), layer=10, texttype=25))
hv_binary_decoder4.add(gdstk.Label('nout3', (31.26,23.45), layer=10, texttype=25))
hv_binary_decoder4.add(gdstk.Label('nout4', (42.26,23.45), layer=10, texttype=25))
hv_binary_decoder4.add(gdstk.Label('VDD', (0.44,0.44), layer=8, texttype=25))
hv_binary_decoder4.add(gdstk.Label('VSS', (0.69,18.08), layer=8, texttype=25))

lib.write_gds('hv_binary_decoder4.gds')
